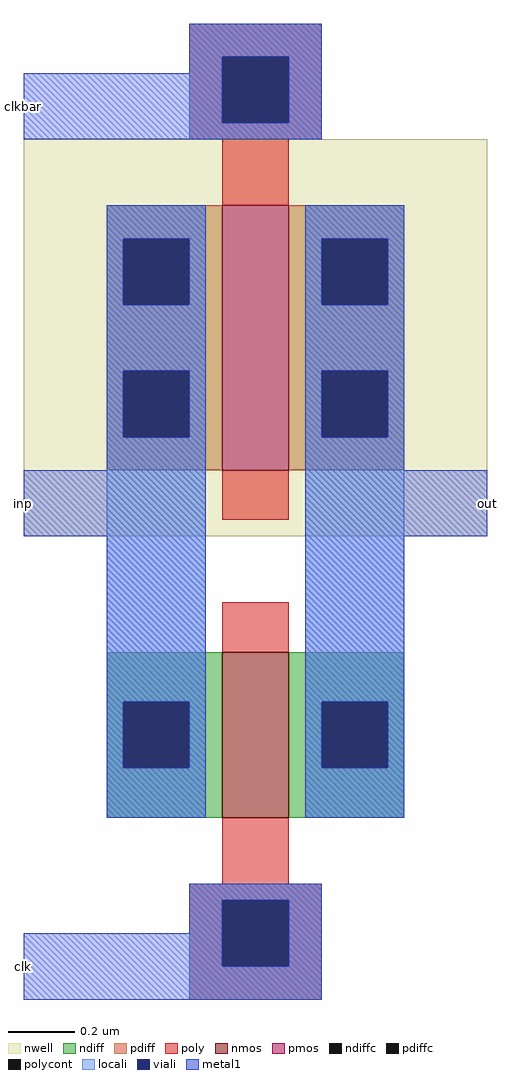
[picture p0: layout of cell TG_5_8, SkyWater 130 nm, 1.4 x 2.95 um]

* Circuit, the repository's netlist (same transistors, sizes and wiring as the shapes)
* SPICE3 file created from /home/sky/fossi_cochlea/mag/transmissionGate/TG_5_8.ext - technology: sky130A

X0 out clk inp SUB sky130_fd_pr__nfet_01v8 ad=0p pd=0u as=0p ps=0u w=500000u l=200000u
X1 out clkbar inp w_n60_85# sky130_fd_pr__pfet_01v8 ad=0p pd=0u as=0p ps=0u w=800000u l=200000u

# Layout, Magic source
magic
tech sky130A
<< nwell >>
rect -60 85 80 205
<< nmos >>
rect 0 0 20 50
<< pmos >>
rect 0 105 20 185
<< ndiff >>
rect -35 35 0 50
rect -35 15 -30 35
rect -10 15 0 35
rect -35 0 0 15
rect 20 35 55 50
rect 20 15 30 35
rect 50 15 55 35
rect 20 0 55 15
<< pdiff >>
rect -35 175 0 185
rect -35 155 -30 175
rect -10 155 0 175
rect -35 135 0 155
rect -35 115 -30 135
rect -10 115 0 135
rect -35 105 0 115
rect 20 175 55 185
rect 20 155 30 175
rect 50 155 55 175
rect 20 135 55 155
rect 20 115 30 135
rect 50 115 55 135
rect 20 105 55 115
<< ndiffc >>
rect -30 15 -10 35
rect 30 15 50 35
<< pdiffc >>
rect -30 155 -10 175
rect -30 115 -10 135
rect 30 155 50 175
rect 30 115 50 135
<< poly >>
rect -10 230 30 240
rect -10 210 0 230
rect 20 210 30 230
rect -10 205 30 210
rect 0 185 20 205
rect 0 90 20 105
rect 0 50 20 65
rect 0 -20 20 0
rect -10 -25 30 -20
rect -10 -45 0 -25
rect 20 -45 30 -25
rect -10 -55 30 -45
<< polycont >>
rect 0 210 20 230
rect 0 -45 20 -25
<< locali >>
rect -10 230 30 240
rect -10 210 0 230
rect 20 210 30 230
rect -10 205 30 210
rect -35 175 -5 185
rect -35 155 -30 175
rect -10 155 -5 175
rect -35 135 -5 155
rect -35 115 -30 135
rect -10 115 -5 135
rect -35 35 -5 115
rect -35 15 -30 35
rect -10 15 -5 35
rect -35 0 -5 15
rect 25 175 55 185
rect 25 155 30 175
rect 50 155 55 175
rect 25 135 55 155
rect 25 115 30 135
rect 50 115 55 135
rect 25 35 55 115
rect 25 15 30 35
rect 50 15 55 35
rect 25 0 55 15
rect -10 -25 30 -20
rect -10 -45 0 -25
rect 20 -45 30 -25
rect -10 -55 30 -45
<< viali >>
rect 0 210 20 230
rect -30 155 -10 175
rect -30 115 -10 135
rect -30 15 -10 35
rect 30 155 50 175
rect 30 115 50 135
rect 30 15 50 35
rect 0 -45 20 -25
<< metal1 >>
rect -10 230 30 240
rect -10 225 0 230
rect -60 210 0 225
rect 20 210 30 230
rect -60 205 30 210
rect -35 175 -5 185
rect -35 155 -30 175
rect -10 155 -5 175
rect -35 135 -5 155
rect -35 115 -30 135
rect -10 115 -5 135
rect -35 105 -5 115
rect -60 85 -5 105
rect -35 35 -5 85
rect -35 15 -30 35
rect -10 15 -5 35
rect -35 0 -5 15
rect 25 175 55 185
rect 25 155 30 175
rect 50 155 55 175
rect 25 135 55 155
rect 25 115 30 135
rect 50 115 55 135
rect 25 105 55 115
rect 25 85 80 105
rect 25 35 55 85
rect 25 15 30 35
rect 50 15 55 35
rect 25 0 55 15
rect -10 -25 30 -20
rect -10 -35 0 -25
rect -60 -45 0 -35
rect 20 -45 30 -25
rect -60 -55 30 -45
<< labels >>
rlabel metal1 -60 215 -60 215 7 clkbar
rlabel metal1 -60 95 -60 95 7 inp
rlabel metal1 -60 -45 -60 -45 7 clk
rlabel metal1 80 95 80 95 3 out
<< end >>
